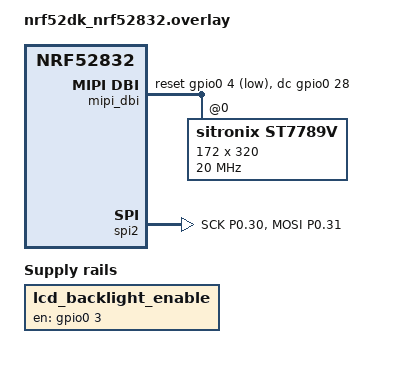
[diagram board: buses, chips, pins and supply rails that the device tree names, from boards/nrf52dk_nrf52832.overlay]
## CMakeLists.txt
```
cmake_minimum_required(VERSION 3.20.0)
find_package(Zephyr REQUIRED HINTS $ENV{ZEPHYR_BASE})
project(display_app)

set(BOARD_FLASH_RUNNER openocd)
set(BOARD_DEBUG_RUNNER openocd)

target_sources(app PRIVATE src/main.c)
```

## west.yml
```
manifest:
  version: "1.0"

  # The "remotes" section defines shortcuts for git URLs.
  remotes:
    - name: zephyrproject-rtos
      url-base: https://github.com/zephyrproject-rtos

  # The "projects" section defines git repositories to be cloned.
  projects:
    - name: zephyr
      remote: zephyrproject-rtos
      revision: v4.2.0  # Pin to specific Zephyr version
      import:
        name-allowlist:
          - cmsis      # Core ARM CMSIS library
          - cmsis_6    # Core ARM CMSIS 6 library
          - hal_nordic # Only if you use Nordic chips
          - mcuboot    # Only if you need the bootloader

  # The "self" section defines this repository.
  self:
    path: .
```

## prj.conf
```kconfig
# Enable display subsystem
CONFIG_DISPLAY=y

# Enable SPI (ST7789V3 uses SPI)
CONFIG_SPI=y

# Enable MIPI DBI interface
CONFIG_MIPI_DBI=y

# Enable ST7789V3 display driver
CONFIG_ST7789V=y

# Enable Character Frame Buffer
CONFIG_CHARACTER_FRAMEBUFFER=y

# Enable heap memory management (required for k_malloc)
CONFIG_HEAP_MEM_POOL_SIZE=65536
CONFIG_KERNEL_MEM_POOL=y
CONFIG_MAIN_STACK_SIZE=4096

# Enable printf/printk for debugging
CONFIG_PRINTK=y

# Enable logging subsystem
CONFIG_LOG=y
CONFIG_LOG_PRINTK=y
CONFIG_LOG_MODE_IMMEDIATE=y
CONFIG_LOG_BACKEND_UART=y
#CONFIG_DISPLAY_LOG_LEVEL_DBG=y
#CONFIG_MIPI_DBI_LOG_LEVEL_DBG=y
#CONFIG_SPI_LOG_LEVEL_DBG=y
#CONFIG_LOG_DEFAULT_LEVEL=4

# Enable system clock
#CONFIG_SYS_CLOCK_EXISTS=y

# Use picolibc instead of newlib (smaller footprint)
#CONFIG_PICOLIBC=y

# Additional memory management options
#CONFIG_DYNAMIC_THREAD=y
```

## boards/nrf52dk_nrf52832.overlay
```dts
/ {
    chosen {
        zephyr,display = &st7789v;
    };

    mipi_dbi {
        compatible = "zephyr,mipi-dbi-spi";
        spi-dev = <&spi2>;
        dc-gpios = <&gpio0 28 GPIO_ACTIVE_HIGH>;
        reset-gpios = <&gpio0 4 GPIO_ACTIVE_LOW>;
        write-only;
        #address-cells = <1>;
        #size-cells = <0>;
        status = "okay";

        st7789v: st7789v@0 {
            compatible = "sitronix,st7789v";
            reg = <0>;
            mipi-max-frequency = <20000000>;

            width = <172>;
            height = <320>;
            x-offset = <0>;
            y-offset = <0>;

            vcom = <0x19>;
            gctrl = <0x35>;
            vrhs = <0x12>;
            vdvs = <0x20>;
            mdac = <0x00>;
            gamma = <0x01>;
            colmod = <0x55>;
            lcm = <0x2c>;
            porch-param = [0c 0c 00 33 33];
            cmd2en-param = [5a 69 02 01];
            pwctrl1-param = [a4 a1];
            pvgam-param = [D0 04 0D 11 13 2B 3F 54 4C 18 0D 0B 1F 23];
            nvgam-param = [D0 04 0C 11 13 2C 3F 44 51 2F 1F 1F 20 23];
            ram-param = [00 F0];
            rgb-param = [CD 08 14];
            mipi-mode = "MIPI_DBI_MODE_SPI_4WIRE";
            status = "okay";
        };
    };

    lcd_backlight_en {
		compatible = "regulator-fixed";
		regulator-name = "lcd_backlight_enable";
		enable-gpios = <&gpio0 3 GPIO_ACTIVE_HIGH>;
		regulator-boot-on;
	};
};

&pinctrl {
    spi2_default: spi2_default {
        group1 {
            psels = <NRF_PSEL(SPIM_SCK, 0, 30)>,
                 <NRF_PSEL(SPIM_MOSI, 0, 31)>;
        };
    };

    spi2_sleep: spi2_sleep {
        group1 {
            psels = <NRF_PSEL(SPIM_SCK, 0, 30)>,
                 <NRF_PSEL(SPIM_MOSI, 0, 31)>;
            low-power-enable;
        };
    };
};

&spi2 {
    compatible = "nordic,nrf-spi";
    status = "okay";
    pinctrl-0 = <&spi2_default>;
    pinctrl-1 = <&spi2_sleep>;
    pinctrl-names = "default", "sleep";
    cs-gpios = <&gpio0 29 GPIO_ACTIVE_LOW>;
};
```

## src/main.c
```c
#include <zephyr/kernel.h>
#include <zephyr/device.h>
#include <zephyr/drivers/display.h>
#include <zephyr/logging/log.h>
#include <string.h>

LOG_MODULE_REGISTER(main, LOG_LEVEL_INF);

/* Display dimensions - match your overlay */
#define DISPLAY_WIDTH  172
#define DISPLAY_HEIGHT 320

/* RGB565 color definitions */
#define RGB565_RED     0xF800
#define RGB565_GREEN   0x07E0
#define RGB565_BLUE    0x001F
#define RGB565_WHITE   0xFFFF
#define RGB565_BLACK   0x0000
#define RGB565_YELLOW  0xFFE0
#define RGB565_CYAN    0x07FF
#define RGB565_MAGENTA 0xF81F

/* Small buffer for drawing operations - keep it small to avoid stack overflow */
#define BUFFER_SIZE 1024  /* 512 pixels * 2 bytes per pixel */

static uint16_t display_buffer[BUFFER_SIZE / 2];

/* Function to fill a rectangular area with a solid color */
static int fill_rect(const struct device *display, uint16_t x, uint16_t y, 
                     uint16_t width, uint16_t height, uint16_t color)
{
    struct display_buffer_descriptor desc;
    int ret;
    
    /* Fill our buffer with the color */
    for (int i = 0; i < ARRAY_SIZE(display_buffer); i++) {
        display_buffer[i] = color;
    }
    
    desc.buf_size = BUFFER_SIZE;
    desc.width = MIN(width, ARRAY_SIZE(display_buffer));
    desc.height = 1;
    desc.pitch = desc.width;
    
    /* Draw line by line to stay within buffer limits */
    for (uint16_t row = 0; row < height; row++) {
        uint16_t current_y = y + row;
        uint16_t remaining_width = width;
        uint16_t current_x = x;
        
        while (remaining_width > 0) {
            uint16_t chunk_width = MIN(remaining_width, desc.width);
            desc.width = chunk_width;
            desc.pitch = chunk_width;
            
            ret = display_write(display, current_x, current_y, &desc, display_buffer);
            if (ret < 0) {
                LOG_ERR("Failed to write to display: %d", ret);
                return ret;
            }
            
            remaining_width -= chunk_width;
            current_x += chunk_width;
        }
    }
    
    return 0;
}

/* Function to draw a simple pattern */
static int draw_pattern(const struct device *display)
{
    int ret;
    
    LOG_INF("Drawing test pattern...");
    
    /* Clear screen with black */
    ret = fill_rect(display, 0, 0, DISPLAY_WIDTH, DISPLAY_HEIGHT, RGB565_BLACK);
    if (ret < 0) {
        return ret;
    }
    
    /* Draw colored rectangles */
    ret = fill_rect(display, 10, 10, 50, 50, RGB565_RED);
    if (ret < 0) return ret;
    
    ret = fill_rect(display, 70, 10, 50, 50, RGB565_GREEN);
    if (ret < 0) return ret;
    
    ret = fill_rect(display, 130, 10, 30, 50, RGB565_BLUE);
    if (ret < 0) return ret;
    
    ret = fill_rect(display, 10, 70, 150, 30, RGB565_YELLOW);
    if (ret < 0) return ret;
    
    ret = fill_rect(display, 10, 110, 150, 30, RGB565_CYAN);
    if (ret < 0) return ret;
    
    ret = fill_rect(display, 10, 150, 150, 30, RGB565_MAGENTA);
    if (ret < 0) return ret;
    
    /* Draw a border around the screen */
    ret = fill_rect(display, 0, 0, DISPLAY_WIDTH, 2, RGB565_WHITE);
    if (ret < 0) return ret;
    
    ret = fill_rect(display, 0, DISPLAY_HEIGHT-2, DISPLAY_WIDTH, 2, RGB565_WHITE);
    if (ret < 0) return ret;
    
    ret = fill_rect(display, 0, 0, 2, DISPLAY_HEIGHT, RGB565_WHITE);
    if (ret < 0) return ret;
    
    ret = fill_rect(display, DISPLAY_WIDTH-2, 0, 2, DISPLAY_HEIGHT, RGB565_WHITE);
    if (ret < 0) return ret;
    
    return 0;
}

/* Function to animate colors */
static int animate_colors(const struct device *display)
{
    uint16_t colors[] = {
        RGB565_RED, RGB565_GREEN, RGB565_BLUE,
        RGB565_YELLOW, RGB565_CYAN, RGB565_MAGENTA,
        RGB565_WHITE
    };
    
    const char* color_names[] = {
        "RED", "GREEN", "BLUE", "YELLOW", "CYAN", "MAGENTA", "WHITE"
    };
    
    for (int i = 0; i < ARRAY_SIZE(colors); i++) {
        LOG_INF("Filling screen with %s", color_names[i]);
        
        int ret = fill_rect(display, 0, 0, DISPLAY_WIDTH, DISPLAY_HEIGHT, colors[i]);
        if (ret < 0) {
            LOG_ERR("Failed to fill screen with color %s: %d", color_names[i], ret);
            return ret;
        }
        
        k_sleep(K_MSEC(1000));
    }
    
    return 0;
}

int main(void)
{
    const struct device *display;
    struct display_capabilities caps;
    int ret;
    
    LOG_INF("ST7789V Display Demo Starting...");
    
    /* Get the display device */
    display = DEVICE_DT_GET(DT_CHOSEN(zephyr_display));
    if (!device_is_ready(display)) {
        LOG_ERR("Display device not ready");
        return -1;
    }
    
    LOG_INF("Display device found and ready");
    
    /* Get display capabilities */
    display_get_capabilities(display, &caps);
    
    LOG_INF("Display capabilities:");
    LOG_INF("  Resolution: %dx%d", caps.x_resolution, caps.y_resolution);
    LOG_INF("  Supported pixel formats: 0x%x", caps.supported_pixel_formats);
    LOG_INF("  Current pixel format: %d", caps.current_pixel_format);
    LOG_INF("  Screen info: %d", caps.screen_info);
    LOG_INF("  Current orientation: %d", caps.current_orientation);
    
    /* Verify the display dimensions match our expectations */
    if (caps.x_resolution != DISPLAY_WIDTH || caps.y_resolution != DISPLAY_HEIGHT) {
        LOG_WRN("Display resolution mismatch! Expected %dx%d, got %dx%d", 
                DISPLAY_WIDTH, DISPLAY_HEIGHT, caps.x_resolution, caps.y_resolution);
    }
    
    /* Turn on display blanking (if supported) */
    ret = display_blanking_off(display);
    if (ret < 0) {
        LOG_WRN("Failed to turn off display blanking: %d", ret);
        /* Continue anyway, some displays don't support this */
    }
    
    /* Main demo loop */
    int demo_cycle = 0;
    while (1) {
        LOG_INF("=== Demo cycle %d ===", demo_cycle++);
        
        /* Draw test pattern */
        ret = draw_pattern(display);
        if (ret < 0) {
            LOG_ERR("Failed to draw pattern: %d", ret);
            break;
        }
        
        LOG_INF("Pattern drawn successfully, waiting 5 seconds...");
        k_sleep(K_MSEC(5000));
        
        /* Animate colors */
        ret = animate_colors(display);
        if (ret < 0) {
            LOG_ERR("Failed to animate colors: %d", ret);
            break;
        }
        
        LOG_INF("Color animation complete, waiting 2 seconds...");
        k_sleep(K_MSEC(2000));
    }
    
    LOG_ERR("Demo loop exited with error");
    return -1;
}
```
